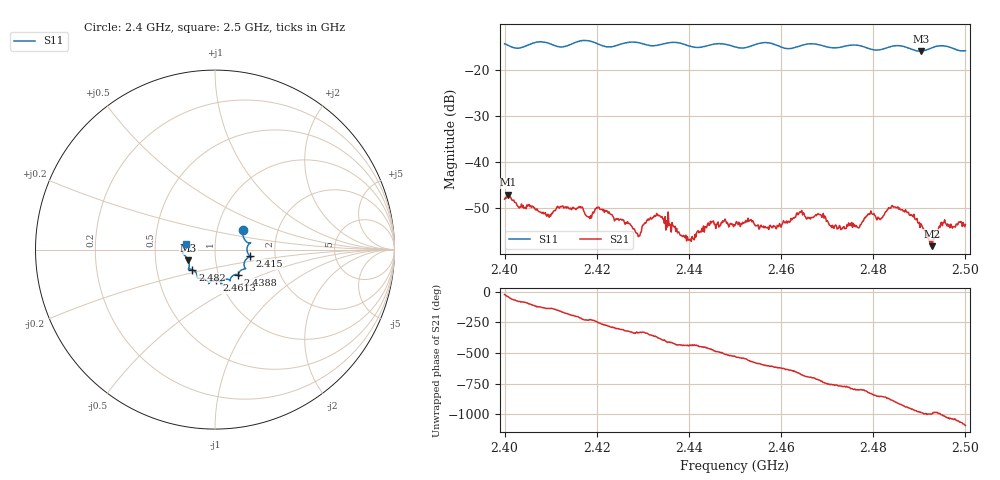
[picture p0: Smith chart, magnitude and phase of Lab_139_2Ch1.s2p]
# Hz S RI R 50
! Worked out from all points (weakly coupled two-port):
!   601 points, 2.4 GHz to 2.5 GHz, reference 50 ohm
!   highest |S21| = -46.99 dB at 2.4007 GHz (marker M1); lowest = -58.2 dB at 2.4928 GHz (marker M2)
!   lowest |S11| = -15.9 dB at 2.4903 GHz (marker M3), VSWR 1.38, Z = 36.8 - j4.46 ohm
!   |S11| at or under -10 dB: start of sweep to end of sweep
!   S12 and S22 are empty: the file has one direction only
!   S11 on the Smith chart (normalised r, x): 2.4 GHz: 1.33, +0.31; 2.415 GHz: 1.47, -0.11; 2.4388 GHz: 1.24, -0.36; 2.4613 GHz: 0.96, -0.34; 2.482 GHz: 0.76, -0.17; 2.5 GHz: 0.72, +0.05
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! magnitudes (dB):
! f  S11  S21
! 2.4 GHz  -14.3  -48.0
! 2.4007 GHz  -14.6  -47.0
! 2.4095 GHz  -14.2  -51.4
! 2.415 GHz  -14.2  -49.9
! 2.4167 GHz  -13.6  -49.9
! 2.4183 GHz  -13.7  -51.8
! 2.4223 GHz  -15.0  -50.7
! 2.429 GHz  -14.0  -56.1
! 2.4333 GHz  -14.6  -51.6
! 2.4388 GHz  -14.4  -55.8
! 2.4448 GHz  -14.5  -53.1
! 2.45 GHz  -15.0  -53.7
! 2.4613 GHz  -15.3  -53.2
! 2.464 GHz  -14.8  -50.7
! 2.4667 GHz  -14.3  -52.0
! 2.4735 GHz  -14.9  -54.0
! 2.482 GHz  -15.5  -52.0
! 2.4833 GHz  -15.0  -49.8
! 2.4903 GHz  -15.9  -53.3
! 2.4928 GHz  -15.1  -58.2
! 2.4952 GHz  -14.7  -53.1
! 2.5 GHz  -15.8  -53.5
